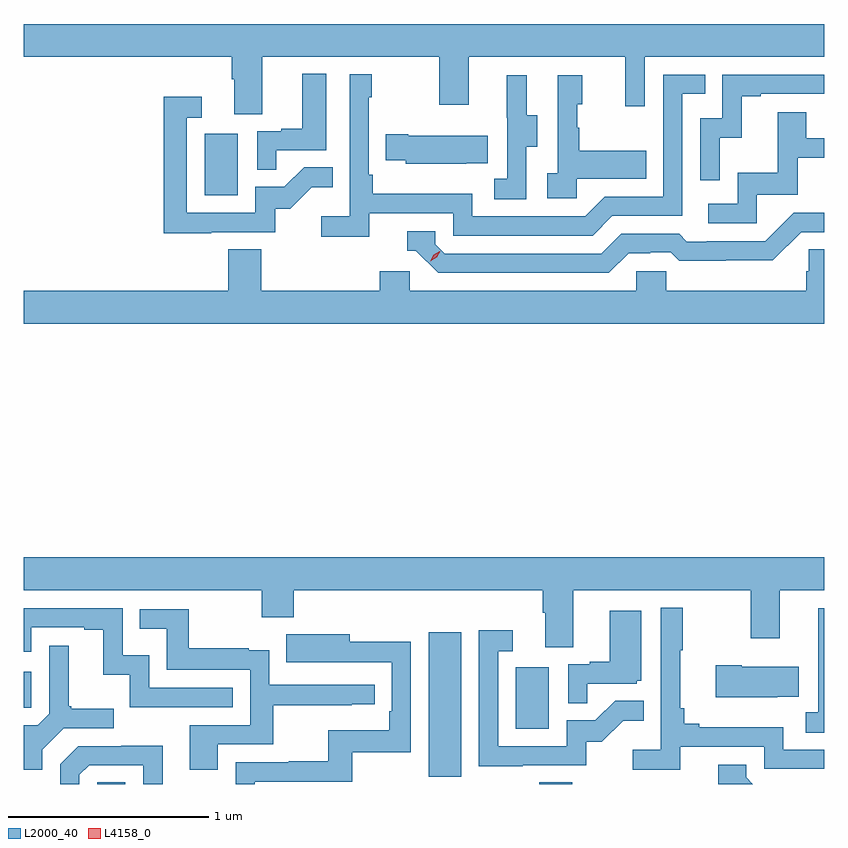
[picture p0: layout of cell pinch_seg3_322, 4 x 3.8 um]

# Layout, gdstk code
import gdstk
lib = gdstk.Library(unit=1e-6, precision=1e-09)
def R(c, l, rs):  # rectangles x0, y0, x1, y1
    for r in rs: c.add(gdstk.rectangle(r[:2], r[2:], *l))
def P(c, l, *ps):  # polygons
    for p in ps: c.add(gdstk.Polygon(p, *l))
L2000_40 = (2000, 40)
L4158_0 = (4158, 0)

pinch_seg3_322 = lib.new_cell('pinch_seg3_322')
R(pinch_seg3_322, L2000_40, [(1012.158,709.272,1012.297,709.28), (1014.365,709.272,1014.53,709.28), (1013.813,709.308,1013.974,710.029), (1014.248,709.548,1014.412,709.855), (1011.789,709.653,1011.828,709.833), (1012.694,712.212,1012.858,712.519)])
P(pinch_seg3_322, L2000_40, [(1012.981,712.904),(1013.866,712.904),(1013.866,712.665),(1014.013,712.665),(1014.013,712.904),(1014.794,712.904),(1014.794,712.656),(1014.891,712.656),(1014.891,712.904),(1015.789,712.904),(1015.789,713.068),(1011.789,713.068),(1011.789,712.904),(1012.829,712.904),(1012.829,712.792),(1012.841,712.792),(1012.841,712.618),(1012.981,712.618)],
  [(1013.051,712.437),(1013.302,712.437),(1013.302,712.819),(1013.18,712.819),(1013.18,712.546),(1013.077,712.546),(1013.077,712.533),(1012.956,712.533),(1012.956,712.339),(1013.051,712.339)],
  [(1013.516,712.122),(1013.934,712.122),(1013.934,712.011),(1014.631,712.011),(1014.73,712.11),(1015.08,712.11),(1015.08,712.719),(1015.193,712.719),(1015.193,712.815),(1014.984,712.815),(1014.984,712.206),(1014.693,712.206),(1014.594,712.107),(1014.03,712.107),(1014.03,712.219),(1013.534,712.219),(1013.534,712.315),(1013.514,712.315),(1013.514,712.703),(1013.527,712.703),(1013.527,712.816),(1013.418,712.816),(1013.418,712.108),(1013.277,712.108),(1013.277,712.006),(1013.516,712.006)],
  [(1015.266,712.499),(1015.376,712.499),(1015.376,712.707),(1015.471,712.707),(1015.471,712.719),(1015.789,712.719),(1015.789,712.815),(1015.278,712.815),(1015.278,712.596),(1015.17,712.596),(1015.17,712.287),(1015.266,712.287)],
  [(1014.552,712.295),(1014.899,712.295),(1014.899,712.435),(1014.565,712.435),(1014.565,712.55),(1014.555,712.55),(1014.555,712.668),(1014.58,712.668),(1014.58,712.813),(1014.456,712.813),(1014.456,712.322),(1014.405,712.322),(1014.405,712.197),(1014.552,712.197)],
  [(1014.3,712.456),(1014.355,712.456),(1014.355,712.611),(1014.301,712.611),(1014.301,712.813),(1014.203,712.813),(1014.203,712.599),(1014.204,712.599),(1014.204,712.295),(1014.141,712.295),(1014.141,712.192),(1014.3,712.192)],
  [(1012.727,712.029),(1013.046,712.029),(1013.046,712.146),(1013.122,712.146),(1013.229,712.253),(1013.333,712.253),(1013.333,712.352),(1013.19,712.352),(1013.092,712.254),(1012.947,712.254),(1012.947,712.125),(1012.605,712.125),(1012.605,712.599),(1012.678,712.599),(1012.678,712.705),(1012.489,712.705),(1012.489,712.024),(1012.727,712.024)],
  [(1015.452,712.215),(1015.657,712.215),(1015.657,712.401),(1015.789,712.401),(1015.789,712.497),(1015.699,712.497),(1015.699,712.627),(1015.555,712.627),(1015.555,712.324),(1015.356,712.324),(1015.356,712.17),(1015.209,712.17),(1015.209,712.074),(1015.452,712.074)],
  [(1013.999,712.373),(1014.107,712.373),(1014.107,712.51),(1013.71,712.51),(1013.71,712.518),(1013.599,712.518),(1013.599,712.388),(1013.697,712.388),(1013.697,712.37),(1013.999,712.37)],
  [(1014.811,711.924),(1014.918,711.924),(1014.918,711.927),(1015.021,711.927),(1015.063,711.885),(1015.296,711.885),(1015.296,711.887),(1015.532,711.887),(1015.674,712.029),(1015.789,712.029),(1015.789,712.125),(1015.635,712.125),(1015.494,711.984),(1015.201,711.984),(1015.201,711.981),(1015.102,711.981),(1015.063,712.02),(1014.774,712.02),(1014.675,711.921),(1013.892,711.921),(1013.844,711.969),(1013.844,712.032),(1013.705,712.032),(1013.705,711.936),(1013.748,711.936),(1013.859,711.825),(1014.712,711.825)],
  [(1015.789,711.944),(1015.711,711.944),(1015.711,711.834),(1015.697,711.834),(1015.697,711.736),(1014.999,711.736),(1014.999,711.834),(1014.849,711.834),(1014.849,711.736),(1013.718,711.736),(1013.718,711.834),(1013.567,711.834),(1013.567,711.736),(1012.976,711.736),(1012.976,711.944),(1012.811,711.944),(1012.811,711.736),(1011.789,711.736),(1011.789,711.572),(1015.789,711.572)],
  [(1011.789,710.24),(1012.978,710.24),(1012.978,710.105),(1013.138,710.105),(1013.138,710.24),(1014.383,710.24),(1014.383,710.128),(1014.395,710.128),(1014.395,709.954),(1014.535,709.954),(1014.535,710.24),(1015.42,710.24),(1015.42,710.001),(1015.567,710.001),(1015.567,710.24),(1015.789,710.24),(1015.789,710.404),(1011.789,710.404)],
  [(1015.07,709.458),(1015.488,709.458),(1015.488,709.347),(1015.789,709.347),(1015.789,709.443),(1015.584,709.443),(1015.584,709.555),(1015.165,709.555),(1015.165,709.574),(1015.088,709.574),(1015.088,709.651),(1015.069,709.651),(1015.069,709.939),(1015.081,709.939),(1015.081,710.152),(1014.972,710.152),(1014.972,709.444),(1014.831,709.444),(1014.831,709.342),(1015.07,709.342)],
  [(1012.835,709.752),(1012.416,709.752),(1012.416,709.915),(1012.284,709.915),(1012.284,710.151),(1011.789,710.151),(1011.789,709.932),(1011.828,709.932),(1011.828,710.055),(1012.091,710.055),(1012.091,710.043),(1012.187,710.043),(1012.187,709.817),(1012.32,709.817),(1012.32,709.656),(1012.835,709.656)],
  [(1015.789,710.149),(1015.757,710.149),(1015.757,709.935),(1015.758,709.935),(1015.758,709.631),(1015.695,709.631),(1015.695,709.528),(1015.789,709.528)],
  [(1012.759,709.47),(1013.036,709.47),(1013.036,709.666),(1013.429,709.666),(1013.429,709.671),(1013.542,709.671),(1013.542,709.767),(1013.016,709.767),(1013.016,709.939),(1012.913,709.939),(1012.913,709.951),(1012.615,709.951),(1012.615,710.145),(1012.369,710.145),(1012.369,710.048),(1012.504,710.048),(1012.504,709.842),(1012.92,709.842),(1012.92,709.566),(1012.619,709.566),(1012.619,709.342),(1012.759,709.342)],
  [(1014.605,709.773),(1014.852,709.773),(1014.852,709.788),(1014.874,709.788),(1014.874,710.137),(1014.716,710.137),(1014.716,709.882),(1014.617,709.882),(1014.617,709.869),(1014.51,709.869),(1014.51,709.675),(1014.605,709.675)],
  [(1014.281,709.365),(1014.6,709.365),(1014.6,709.482),(1014.676,709.482),(1014.783,709.589),(1014.887,709.589),(1014.887,709.688),(1014.743,709.688),(1014.645,709.59),(1014.501,709.59),(1014.501,709.461),(1014.159,709.461),(1014.159,709.935),(1014.232,709.935),(1014.232,710.041),(1014.063,710.041),(1014.063,709.36),(1014.281,709.36)],
  [(1012.944,709.284),(1013.431,709.284),(1013.431,709.431),(1013.724,709.431),(1013.724,709.982),(1013.419,709.982),(1013.419,710.02),(1013.101,710.02),(1013.101,709.88),(1013.315,709.88),(1013.315,709.881),(1013.628,709.881),(1013.628,709.636),(1013.615,709.636),(1013.615,709.54),(1013.31,709.54),(1013.31,709.385),(1013.113,709.385),(1013.113,709.38),(1012.848,709.38),(1012.848,709.272),(1012.944,709.272)],
  [(1011.883,709.444),(1011.99,709.551),(1012.24,709.551),(1012.24,709.648),(1012.027,709.648),(1012.027,709.66),(1012.015,709.66),(1012.015,709.963),(1011.918,709.963),(1011.918,709.623),(1011.861,709.566),(1011.789,709.566),(1011.789,709.342),(1011.883,709.342)],
  [(1015.553,709.709),(1015.661,709.709),(1015.661,709.858),(1015.375,709.858),(1015.375,709.866),(1015.247,709.866),(1015.247,709.706),(1015.553,709.706)],
  [(1012.068,709.317),(1012.116,709.365),(1012.386,709.365),(1012.386,709.272),(1012.483,709.272),(1012.483,709.463),(1012.278,709.463),(1012.278,709.461),(1012.062,709.461),(1011.972,709.371),(1011.972,709.272),(1012.068,709.272)],
  [(1015.398,709.305),(1015.398,709.368),(1015.259,709.368),(1015.259,709.272),(1015.431,709.272)])
P(pinch_seg3_322, L4158_0, [(1013.821,711.883),(1013.821,711.883),(1013.838,711.915),(1013.868,711.934),(1013.869,711.934),(1013.869,711.934),(1013.852,711.902),(1013.821,711.883)])

lib.write_gds('pinch_seg3_322.gds')
